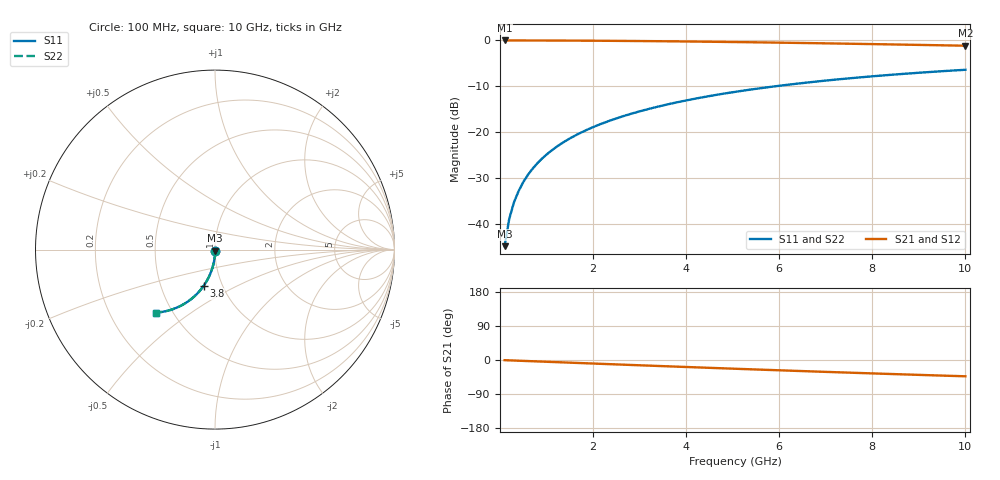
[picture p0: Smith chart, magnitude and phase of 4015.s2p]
# Hz S RI R 50.00
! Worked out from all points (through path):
!   100 points, 100 MHz to 10 GHz, reference 50 ohm
!   highest |S21| = -0.01 dB at 100 MHz (marker M1); lowest = -1.1 dB at 10 GHz (marker M2)
!   group delay of S21, straight-line fit = 12 ps
!   lowest |S11| = -44.8 dB at 100 MHz (marker M3), VSWR 1.01, Z = 50.1 - j0.575 ohm
!   |S11| at or under -10 dB: start of sweep to 5.899 GHz
!   |S22| runs from -44.8 to -6.4 dB; largest |S21 - S12| = 0
!   S11 on the Smith chart (normalised r, x): 100 MHz: 1.00, -0.01; 3.8 GHz: 0.82, -0.35; 10 GHz: 0.41, -0.37
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1e8  0.000597 -0.00574  0.9993 -0.00816  0.9993 -0.00816  0.000597 -0.00574
2e8  0.000455 -0.0115  0.9991 -0.0163  0.9991 -0.0163  0.000455 -0.0115
3e8  0.000217 -0.0172  0.9989 -0.0245  0.9989 -0.0245  0.000217 -0.0172
4e8  -0.000115 -0.023  0.9985 -0.0326  0.9985 -0.0326  -0.000115 -0.023
5e8  -0.000541 -0.0287  0.9981 -0.0408  0.9981 -0.0408  -0.000541 -0.0287
6e8  -0.00106 -0.0344  0.9975 -0.0489  0.9975 -0.0489  -0.00106 -0.0344
7e8  -0.00167 -0.0401  0.9968 -0.057  0.9968 -0.057  -0.00167 -0.0401
8e8  -0.00238 -0.0458  0.9961 -0.0651  0.9961 -0.0651  -0.00238 -0.0458
9e8  -0.00317 -0.0515  0.9952 -0.0732  0.9952 -0.0732  -0.00317 -0.0515
1.1e9  -0.00504 -0.0628  0.9933 -0.0894  0.9933 -0.0894  -0.00504 -0.0628
1.4e9  -0.00853 -0.0796  0.9895 -0.1134  0.9895 -0.1134  -0.00853 -0.0796
1.8e9  -0.0144 -0.1016  0.9833 -0.1451  0.9833 -0.1451  -0.0144 -0.1016
2.1e9  -0.0198 -0.1178  0.9776 -0.1686  0.9776 -0.1686  -0.0198 -0.1178
2.5e9  -0.028 -0.1389  0.9687 -0.1994  0.9687 -0.1994  -0.028 -0.1389
2.9e9  -0.0376 -0.1593  0.9585 -0.2295  0.9585 -0.2295  -0.0376 -0.1593
3.4e9  -0.0513 -0.1836  0.9439 -0.266  0.9439 -0.266  -0.0513 -0.1836
3.8e9  -0.0634 -0.2022  0.9309 -0.2943  0.9309 -0.2943  -0.0634 -0.2022
4.4e9  -0.0836 -0.2281  0.9093 -0.3349  0.9093 -0.3349  -0.0836 -0.2281
5.1e9  -0.1096 -0.2555  0.8813 -0.3794  0.8813 -0.3794  -0.1096 -0.2555
6.7e9  -0.1765 -0.3052  0.8085 -0.4686  0.8085 -0.4686  -0.1765 -0.3052
8.4e9  -0.2537 -0.3379  0.7233 -0.5438  0.7233 -0.5438  -0.2537 -0.3379
1e10  -0.3268 -0.3509  0.6407 -0.5974  0.6407 -0.5974  -0.3268 -0.3509
